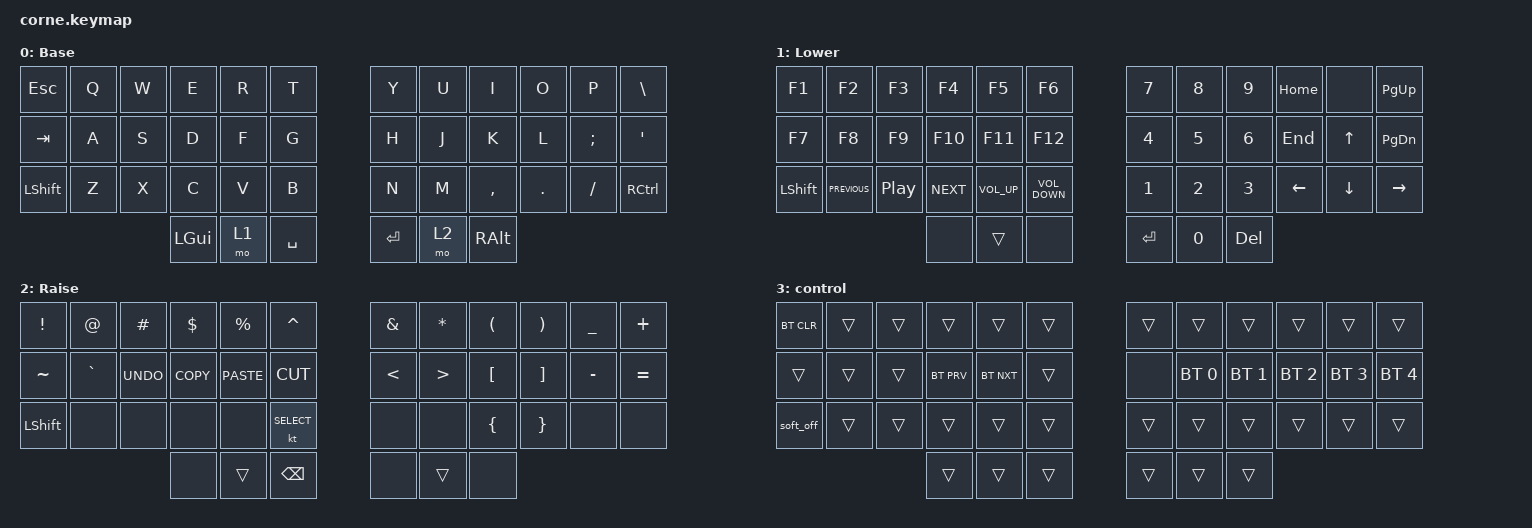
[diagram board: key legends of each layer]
/*
 * Copyright (c) 2020 The ZMK Contributors
 *
 * SPDX-License-Identifier: MIT
 */

#include <behaviors.dtsi>
#include <dt-bindings/zmk/bt.h>
#include <dt-bindings/zmk/keys.h>
#include <dt-bindings/zmk/keys.h>

/ {
    combos {
        compatible = "zmk,combos";

        control {
            bindings = <&mo 3>;
            key-positions = <37 40>;
            layers = <3>;
        };
    };

    keymap {
        compatible = "zmk,keymap";

        default_layer {
            // -----------------------------------------------------------------------------------------
            // |  TAB |  Q  |  W  |  E  |  R  |  T  |   |  Y  |  U   |  I  |  O  |  P  | BKSP |
            // | CTRL |  A  |  S  |  D  |  F  |  G  |   |  H  |  J   |  K  |  L  |  ;  |  '   |
            // | SHFT |  Z  |  X  |  C  |  V  |  B  |   |  N  |  M   |  ,  |  .  |  /  | ESC  |
            //                    | GUI | LWR | SPC |   | ENT | RSE  | ALT |

            display-name = "Base";
            bindings = <
&kp ESCAPE  &kp Q  &kp W  &kp E     &kp R  &kp T        &kp Y    &kp U  &kp I      &kp O    &kp P     &kp BACKSLASH
&kp TAB     &kp A  &kp S  &kp D     &kp F  &kp G        &kp H    &kp J  &kp K      &kp L    &kp SEMI  &kp SQT
&kp LSHFT   &kp Z  &kp X  &kp C     &kp V  &kp B        &kp N    &kp M  &kp COMMA  &kp DOT  &kp FSLH  &kp RCTRL
                          &kp LGUI  &mo 1  &kp SPACE    &kp RET  &mo 2  &kp RALT
            >;
        };

        lower_layer {
            // -----------------------------------------------------------------------------------------
            // |  TAB |  1  |  2  |  3  |  4  |  5  |   |  6  |  7  |  8  |  9  |  0  | BKSP |
            // | BTCLR| BT1 | BT2 | BT3 | BT4 | BT5 |   | LFT | DWN |  UP | RGT |     |      |
            // | SHFT |     |     |     |     |     |   |     |     |     |     |     |      |
            //                    | GUI |     | SPC |   | ENT |     | ALT |

            display-name = "Lower";
            bindings = <
&kp F1     &kp F2          &kp F3            &kp F4      &kp F5           &kp F6               &kp N7        &kp N8        &kp N9        &kp HOME  &none         &kp PG_UP
&kp F7     &kp F8          &kp F9            &kp F10     &kp F11          &kp F12              &kp NUMBER_4  &kp N5        &kp NUMBER_6  &kp END   &kp UP_ARROW  &kp PAGE_DOWN
&kp LSHFT  &kp C_PREVIOUS  &kp C_PLAY_PAUSE  &kp C_NEXT  &kp C_VOLUME_UP  &kp C_VOLUME_DOWN    &kp NUMBER_1  &kp NUMBER_2  &kp NUMBER_3  &kp LEFT  &kp DOWN      &kp RIGHT
                                             &none       &trans           &none                &kp RET       &kp N0        &kp DELETE
            >;
        };

        raise_layer {
            // -----------------------------------------------------------------------------------------
            // |  TAB |  !  |  @  |  #  |  $  |  %  |   |  ^  |  &  |  *  |  (  |  )  | BKSP |
            // | CTRL |     |     |     |     |     |   |  -  |  =  |  [  |  ]  |  \  |  `   |
            // | SHFT |     |     |     |     |     |   |  _  |  +  |  {  |  }  | "|" |  ~   |
            //                    | GUI |     | SPC |   | ENT |     | ALT |

            display-name = "Raise";
            bindings = <
&kp EXCLAMATION  &kp AT_SIGN  &kp HASH    &kp DOLLAR  &kp PERCENT  &kp CARET        &kp AMPERSAND  &kp ASTERISK      &kp LEFT_PARENTHESIS  &kp RIGHT_PARENTHESIS  &kp UNDERSCORE  &kp PLUS
&kp TILDE        &kp GRAVE    &kp K_UNDO  &kp K_COPY  &kp K_PASTE  &kp K_CUT        &kp LESS_THAN  &kp GREATER_THAN  &kp LBKT              &kp RBKT               &kp MINUS       &kp EQUAL
&kp LSHFT        &none        &none       &none       &none        &kt K_SELECT     &none          &none             &kp LBRC              &kp RBRC               &none           &none
                                          &none       &trans       &kp BACKSPACE    &none          &trans            &none
            >;
        };

        control {
            bindings = <
&bt BT_CLR  &trans  &trans  &trans      &trans      &trans    &trans  &trans        &trans        &trans        &trans        &trans
&trans      &trans  &trans  &bt BT_PRV  &bt BT_NXT  &trans    &none   &bt BT_SEL 0  &bt BT_SEL 1  &bt BT_SEL 2  &bt BT_SEL 3  &bt BT_SEL 4
&soft_off   &trans  &trans  &trans      &trans      &trans    &trans  &trans        &trans        &trans        &trans        &trans
                            &trans      &trans      &trans    &trans  &trans        &trans
            >;
        };
    };
};
